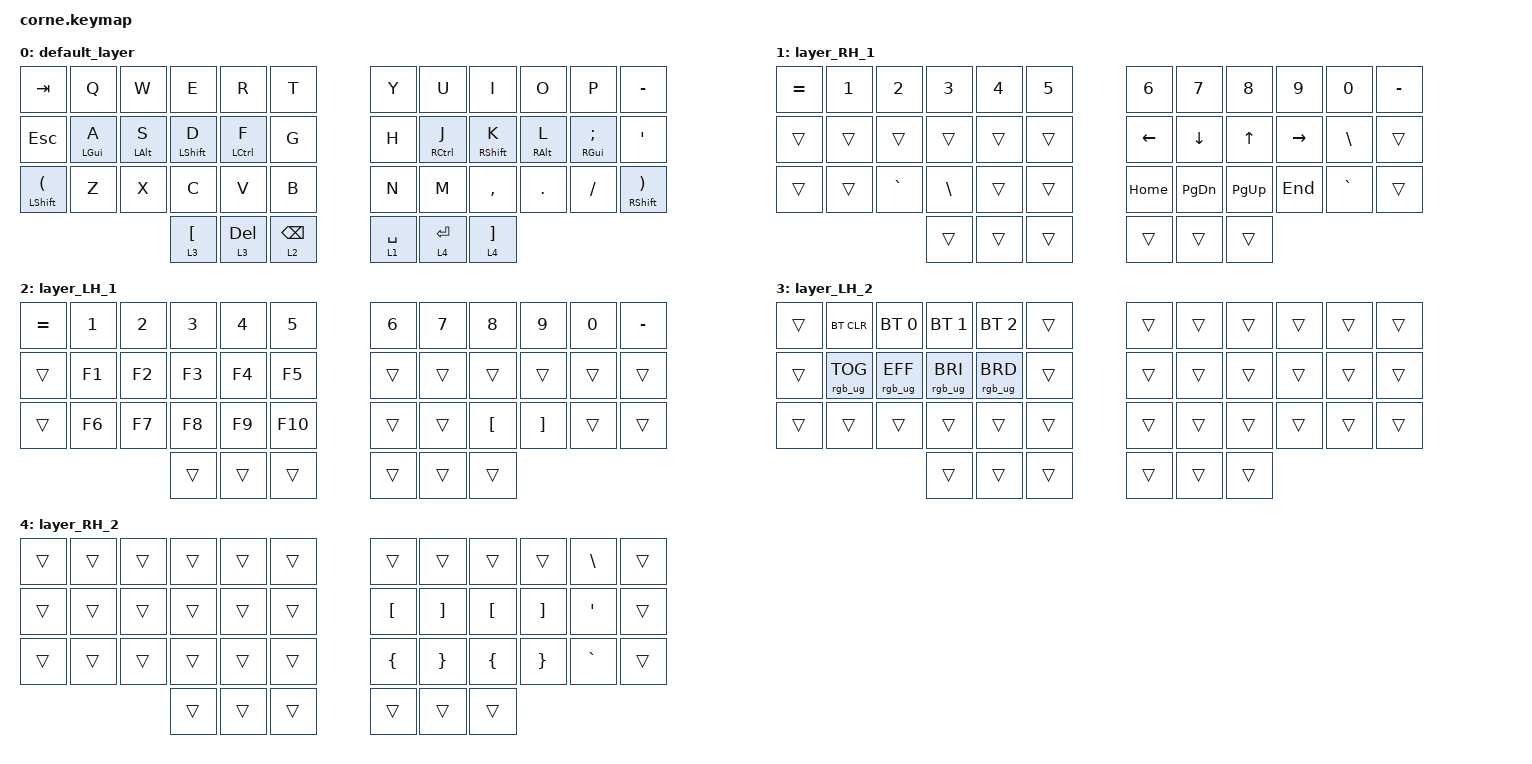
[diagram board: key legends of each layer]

/*
 * Copyright (c) 2020 The ZMK Contributors
 *
 * SPDX-License-Identifier: MIT
 */


/* THIS FILE WAS GENERATED!
 *
 * This file was generated automatically. You may or may not want to
 * edit it directly.
 */

#include <behaviors.dtsi>
#include <dt-bindings/zmk/keys.h>
#include <dt-bindings/zmk/bt.h>
#include <dt-bindings/zmk/rgb.h>

/ {
    behaviors {
        hm: homerow_mods {
            compatible = "zmk,behavior-hold-tap";
            label = "HOMEROW_MODS";
            #binding-cells = <2>;
            tapping-term-ms = <170>;
            quick-tap-ms = <0>;
            flavor = "tap-preferred";
            bindings = <&kp>, <&kp>;
        };
    };
   
    combos {
        compatible = "zmk,combos";
        combo_del {
            timeout-ms = <50>;
            key-positions = <24 38>;
            layers = <0>;
            bindings = <&kp DEL>;
        };
        combo_del_2 {
            timeout-ms = <50>;
            key-positions = <15 38>;
            layers = <0>;
            bindings = <&kp DEL>;
        };
        combo_enter {
            timeout-ms = <50>;
            key-positions = <35 39>;
            layers = <0>;
            bindings = <&kp ENTER>;
        };
        combo_enter_2 {
            timeout-ms = <50>;
            key-positions = <20 39>;
            layers = <0>;
            bindings = <&kp ENTER>;
        };
    };

    keymap {
        compatible = "zmk,keymap";
        default_layer {
            bindings = <
        &kp TAB        &kp Q       &kp W       &kp E         &kp R        &kp T               &kp Y         &kp U        &kp I        &kp O       &kp P         &kp MINUS
        &kp ESC        &hm LGUI A  &hm LALT S  &hm LSHIFT D  &hm LCTRL F  &kp G               &kp H         &hm RCTRL J  &hm RSHIFT K &hm RALT L  &hm RGUI SEMI &kp APOS
        &mt LSHFT LPAR &kp Z       &kp X       &kp C         &kp V        &kp B               &kp N         &kp M        &kp COMMA    &kp DOT     &kp FSLH      &mt RSHFT RPAR
                                               &lt 3 LBKT    &lt 3 DEL   &lt 2 BSPC           &lt 1 SPACE   &lt 4 ENTER  &lt 4 RBKT
            >;
        };

        layer_RH_1 {
            bindings = <
    &kp EQUAL  &kp N1  &kp N2  &kp N3  &kp N4  &kp N5            &kp N6     &kp N7     &kp N8     &kp N9     &kp N0         &kp MINUS
    &trans     &trans  &trans  &trans  &trans  &trans            &kp LEFT   &kp DOWN   &kp UP     &kp RIGHT  &kp BACKSLASH  &trans
    &trans     &trans  &kp GRAVE &kp BACKSLASH &trans  &trans       &kp HOME   &kp PG_DN  &kp PG_UP  &kp END    &kp GRAVE      &trans
                               &trans  &trans  &trans            &trans     &trans     &trans
            >;
        };

        layer_LH_1 {
            bindings = <
    &kp EQUAL     &kp NUMBER_1  &kp NUMBER_2  &kp NUMBER_3  &kp NUMBER_4  &kp NUMBER_5            &kp NUMBER_6  &kp NUMBER_7  &kp NUMBER_8  &kp NUMBER_9  &kp NUMBER_0  &kp MINUS
    &trans        &kp F1        &kp F2        &kp F3        &kp F4        &kp F5                  &trans        &trans        &trans        &trans        &trans        &trans
    &trans        &kp F6        &kp F7        &kp F8        &kp F9       &kp F10                  &trans        &trans        &kp LBKT      &kp RBKT       &trans        &trans
                                              &trans        &trans        &trans                  &trans        &trans        &trans
            >;
        };

        layer_LH_2 {
            bindings = <
     &trans        &bt BT_CLR      &bt BT_SEL 0    &bt BT_SEL 1    &bt BT_SEL 2    &trans        &trans  &trans  &trans  &trans  &trans  &trans
     &trans        &rgb_ug RGB_TOG &rgb_ug RGB_EFF &rgb_ug RGB_BRI &rgb_ug RGB_BRD &trans        &trans  &trans  &trans  &trans  &trans  &trans
     &trans        &trans          &trans          &trans          &trans          &trans        &trans  &trans  &trans  &trans  &trans  &trans
                                                   &trans          &trans          &trans        &trans  &trans  &trans
            >;
        };

        layer_RH_2 {
            bindings = <
 &trans  &trans  &trans  &trans  &trans  &trans            &trans            &trans             &trans            &trans             &kp BSLH                &trans
 &trans  &trans  &trans  &trans  &trans  &trans            &kp LEFT_BRACKET  &kp RIGHT_BRACKET  &kp LEFT_BRACKET  &kp RIGHT_BRACKET  &kp SINGLE_QUOTE        &trans
 &trans  &trans  &trans  &trans  &trans  &trans            &kp LEFT_BRACE    &kp RIGHT_BRACE    &kp LEFT_BRACE    &kp RIGHT_BRACE    &kp GRAVE               &trans
                         &trans  &trans  &trans            &trans            &trans             &trans
            >;
        };

    };
};
